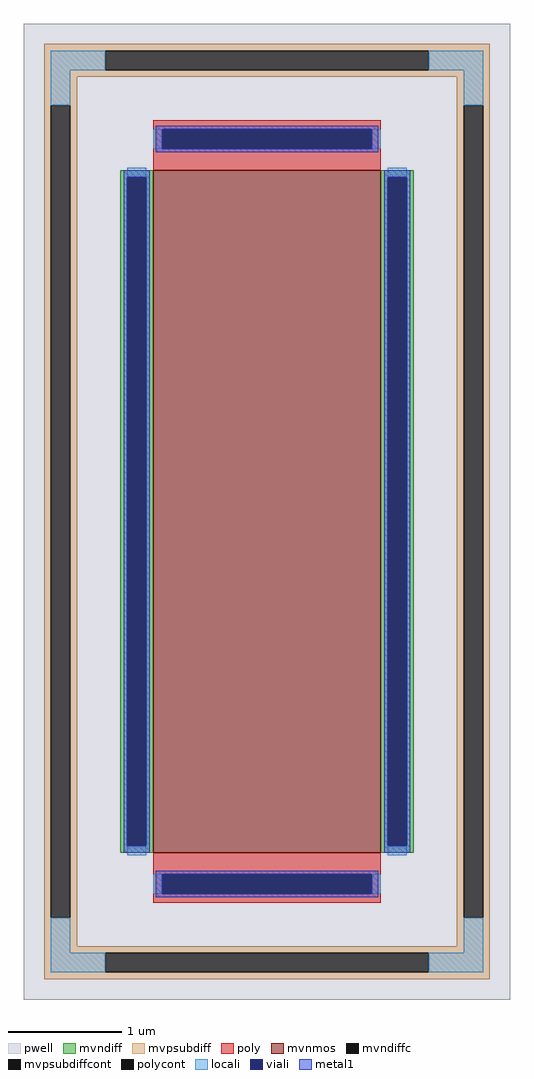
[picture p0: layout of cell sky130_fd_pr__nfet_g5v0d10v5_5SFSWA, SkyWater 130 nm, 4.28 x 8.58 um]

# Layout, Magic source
magic
tech sky130A
<< pwell >>
rect -214 -429 214 429
<< mvnmos >>
rect -100 -300 100 300
<< mvndiff >>
rect -129 294 -100 300
rect -129 -294 -123 294
rect -106 -294 -100 294
rect -129 -300 -100 -294
rect 100 294 129 300
rect 100 -294 106 294
rect 123 -294 129 294
rect 100 -300 129 -294
<< mvndiffc >>
rect -123 -294 -106 294
rect 106 -294 123 294
<< mvpsubdiff >>
rect -196 405 196 411
rect -196 388 -142 405
rect 142 388 196 405
rect -196 382 196 388
rect -196 357 -167 382
rect -196 -357 -190 357
rect -173 -357 -167 357
rect 167 357 196 382
rect -196 -382 -167 -357
rect 167 -357 173 357
rect 190 -357 196 357
rect 167 -382 196 -357
rect -196 -388 196 -382
rect -196 -405 -142 -388
rect 142 -405 196 -388
rect -196 -411 196 -405
<< mvpsubdiffcont >>
rect -142 388 142 405
rect -190 -357 -173 357
rect 173 -357 190 357
rect -142 -405 142 -388
<< poly >>
rect -100 336 100 344
rect -100 319 -92 336
rect 92 319 100 336
rect -100 300 100 319
rect -100 -319 100 -300
rect -100 -336 -92 -319
rect 92 -336 100 -319
rect -100 -344 100 -336
<< polycont >>
rect -92 319 92 336
rect -92 -336 92 -319
<< locali >>
rect -190 388 -142 405
rect 142 388 190 405
rect -190 357 -173 388
rect 173 357 190 388
rect -100 319 -92 336
rect 92 319 100 336
rect -123 294 -106 302
rect -123 -302 -106 -294
rect 106 294 123 302
rect 106 -302 123 -294
rect -100 -336 -92 -319
rect 92 -336 100 -319
rect -190 -388 -173 -357
rect 173 -388 190 -357
rect -190 -405 -142 -388
rect 142 -405 190 -388
<< viali >>
rect -92 319 92 336
rect -123 -294 -106 294
rect 106 -294 123 294
rect -92 -336 92 -319
<< metal1 >>
rect -98 336 98 339
rect -98 319 -92 336
rect 92 319 98 336
rect -98 316 98 319
rect -126 294 -103 300
rect -126 -294 -123 294
rect -106 -294 -103 294
rect -126 -300 -103 -294
rect 103 294 126 300
rect 103 -294 106 294
rect 123 -294 126 294
rect 103 -300 126 -294
rect -98 -319 98 -316
rect -98 -336 -92 -319
rect 92 -336 98 -319
rect -98 -339 98 -336
<< properties >>
string FIXED_BBOX -181 -396 181 396
string gencell sky130_fd_pr__nfet_g5v0d10v5
string library sky130
string parameters w 6 l 2 m 1 nf 1 diffcov 100 polycov 100 guard 1 glc 1 grc 1 gtc 1 gbc 1 tbcov 100 rlcov 100 topc 1 botc 1 poverlap 0 doverlap 1 lmin 0.50 wmin 0.42 compatible {sky130_fd_pr__nfet_01v8 sky130_fd_pr__nfet_01v8_lvt  sky130_fd_bs_flash__special_sonosfet_star  sky130_fd_pr__nfet_g5v0d10v5 sky130_fd_pr__nfet_05v0_nvt  sky130_fd_pr__nfet_03v3_nvt} full_metal 1 viasrc 100 viadrn 100 viagate 100 viagb 0 viagr 0 viagl 0 viagt 0
<< end >>
